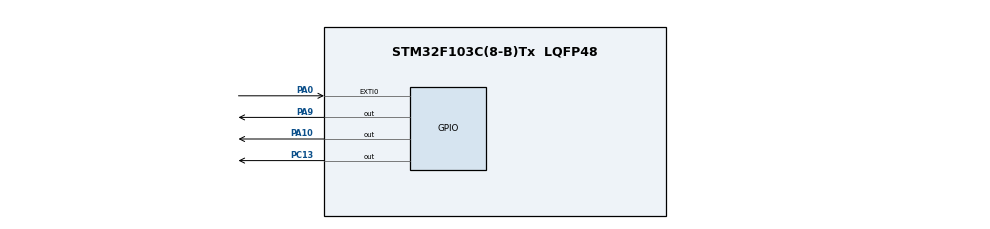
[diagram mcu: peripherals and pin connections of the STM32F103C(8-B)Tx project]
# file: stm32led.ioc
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Mcu.Family=STM32F1
Mcu.Name=STM32F103C(8-B)Tx
Mcu.Package=LQFP48
NVIC.EXTI0_IRQn=true\:0\:0\:false\:false\:true\:true\:true\:true
NVIC.PriorityGroup=NVIC_PRIORITYGROUP_4
PA0-WKUP.GPIO_ModeDefaultEXTI=GPIO_MODE_IT_FALLING
PA0-WKUP.GPIO_PuPd=GPIO_PULLUP
PA0-WKUP.Signal=GPXTI0
PA10.GPIO_PuPd=GPIO_NOPULL
PA10.GPIO_Speed=GPIO_SPEED_FREQ_MEDIUM
PA10.PinState=GPIO_PIN_SET
PA10.Signal=GPIO_Output
PA13.Mode=Serial_Wire
PA13.Signal=SYS_JTMS-SWDIO
PA14.Mode=Serial_Wire
PA14.Signal=SYS_JTCK-SWCLK
PA9.GPIO_PuPd=GPIO_NOPULL
PA9.GPIO_Speed=GPIO_SPEED_FREQ_MEDIUM
PA9.PinState=GPIO_PIN_SET
PA9.Signal=GPIO_Output
PC13-TAMPER-RTC.GPIO_ModeDefaultOutputPP=GPIO_MODE_OUTPUT_OD
PC13-TAMPER-RTC.GPIO_PuPd=GPIO_NOPULL
PC13-TAMPER-RTC.PinState=GPIO_PIN_SET
PC13-TAMPER-RTC.Signal=GPIO_Output
ProjectManager.HeapSize=0x200
ProjectManager.StackSize=0x400
ProjectManager.TargetToolchain=MDK-ARM V5.32
RCC.APB1Freq_Value=8000000
RCC.APB2Freq_Value=8000000
board=custom

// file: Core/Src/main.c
/* USER CODE BEGIN Header */
/**
  ******************************************************************************
  * @file           : main.c
  * @brief          : Main program body
  ******************************************************************************
  * @attention
  *
  * Copyright (c) 2026 STMicroelectronics.
  * All rights reserved.
  *
  * This software is licensed under terms that can be found in the LICENSE file
  * in the root directory of this software component.
  * If no LICENSE file comes with this software, it is provided AS-IS.
  *
  ******************************************************************************
  */
/* USER CODE END Header */
#include "main.h"

/* USER CODE BEGIN PV */
static uint8_t led_mode = 0;
static uint32_t last_debounce_tick = 0; // 消抖时间戳
/* USER CODE END PV */

void SystemClock_Config(void);
static void MX_GPIO_Init(void);

/* USER CODE BEGIN 0 */

void HAL_GPIO_EXTI_Callback(uint16_t GPIO_Pin)
{
    if (GPIO_Pin == GPIO_PIN_0)
    {
        // 消抖：至少间隔 50ms 才处理
        if ((HAL_GetTick() - last_debounce_tick) > 50)
        {
            // 读取当前电平（必须是低电平才有效）
            if (HAL_GPIO_ReadPin(GPIOA, GPIO_PIN_0) == GPIO_PIN_RESET)
            {
                led_mode = !led_mode;

                if (led_mode)
                {
                    HAL_GPIO_WritePin(GPIOA, GPIO_PIN_9, GPIO_PIN_RESET);
                    HAL_GPIO_WritePin(GPIOA, GPIO_PIN_10, GPIO_PIN_SET);
                }
                else
                {
                    HAL_GPIO_WritePin(GPIOA, GPIO_PIN_9, GPIO_PIN_SET);
                    HAL_GPIO_WritePin(GPIOA, GPIO_PIN_10, GPIO_PIN_RESET);
                }

                HAL_GPIO_TogglePin(GPIOC, GPIO_PIN_13);
                last_debounce_tick = HAL_GetTick(); // 更新时间戳
            }
        }
    }
}
/* USER CODE END 0 */

int main(void)
{

  /* MCU Configuration--------------------------------------------------------*/

  /* Reset of all peripherals, Initializes the Flash interface and the Systick. */
  HAL_Init();

  /* Configure the system clock */
  SystemClock_Config();

  /* Initialize all configured peripherals */
  MX_GPIO_Init();
  /* USER CODE BEGIN 2 */
// 初始状态：PA9 亮，PA10 灭（高电平驱动）
HAL_GPIO_WritePin(GPIOA, GPIO_PIN_9, GPIO_PIN_SET);   // 亮
HAL_GPIO_WritePin(GPIOA, GPIO_PIN_10, GPIO_PIN_RESET); // 灭
/* USER CODE END 2 */

  /* Infinite loop */
  while (1)
  {

  }
}

void SystemClock_Config(void)
{
  RCC_OscInitTypeDef RCC_OscInitStruct = {0};
  RCC_ClkInitTypeDef RCC_ClkInitStruct = {0};

  /** Initializes the RCC Oscillators according to the specified parameters
  * in the RCC_OscInitTypeDef structure.
  */
  RCC_OscInitStruct.OscillatorType = RCC_OSCILLATORTYPE_HSI;
  RCC_OscInitStruct.HSIState = RCC_HSI_ON;
  RCC_OscInitStruct.HSICalibrationValue = RCC_HSICALIBRATION_DEFAULT;
  RCC_OscInitStruct.PLL.PLLState = RCC_PLL_NONE;
  if (HAL_RCC_OscConfig(&RCC_OscInitStruct) != HAL_OK)
  {
    Error_Handler();
  }

  /** Initializes the CPU, AHB and APB buses clocks
  */
  RCC_ClkInitStruct.ClockType = RCC_CLOCKTYPE_HCLK|RCC_CLOCKTYPE_SYSCLK
                              |RCC_CLOCKTYPE_PCLK1|RCC_CLOCKTYPE_PCLK2;
  RCC_ClkInitStruct.SYSCLKSource = RCC_SYSCLKSOURCE_HSI;
  RCC_ClkInitStruct.AHBCLKDivider = RCC_SYSCLK_DIV1;
  RCC_ClkInitStruct.APB1CLKDivider = RCC_HCLK_DIV1;
  RCC_ClkInitStruct.APB2CLKDivider = RCC_HCLK_DIV1;

  if (HAL_RCC_ClockConfig(&RCC_ClkInitStruct, FLASH_LATENCY_0) != HAL_OK)
  {
    Error_Handler();
  }
}

static void MX_GPIO_Init(void)
{
  GPIO_InitTypeDef GPIO_InitStruct = {0};

  /* GPIO Ports Clock Enable */
  __HAL_RCC_GPIOC_CLK_ENABLE();
  __HAL_RCC_GPIOA_CLK_ENABLE();

  /*Configure GPIO pin Output Level */
  HAL_GPIO_WritePin(GPIOC, GPIO_PIN_13, GPIO_PIN_SET);

  /*Configure GPIO pin Output Level */
  HAL_GPIO_WritePin(GPIOA, GPIO_PIN_9|GPIO_PIN_10, GPIO_PIN_SET);

  /*Configure GPIO pin : PC13 */
  GPIO_InitStruct.Pin = GPIO_PIN_13;
  GPIO_InitStruct.Mode = GPIO_MODE_OUTPUT_OD;
  GPIO_InitStruct.Pull = GPIO_NOPULL;
  GPIO_InitStruct.Speed = GPIO_SPEED_FREQ_LOW;
  HAL_GPIO_Init(GPIOC, &GPIO_InitStruct);

  /*Configure GPIO pin : PA0 */
  GPIO_InitStruct.Pin = GPIO_PIN_0;
  GPIO_InitStruct.Mode = GPIO_MODE_IT_FALLING;
  GPIO_InitStruct.Pull = GPIO_PULLUP;
  HAL_GPIO_Init(GPIOA, &GPIO_InitStruct);

  /*Configure GPIO pins : PA9 PA10 */
  GPIO_InitStruct.Pin = GPIO_PIN_9|GPIO_PIN_10;
  GPIO_InitStruct.Mode = GPIO_MODE_OUTPUT_PP;
  GPIO_InitStruct.Pull = GPIO_NOPULL;
  GPIO_InitStruct.Speed = GPIO_SPEED_FREQ_MEDIUM;
  HAL_GPIO_Init(GPIOA, &GPIO_InitStruct);

  /* EXTI interrupt init*/
  HAL_NVIC_SetPriority(EXTI0_IRQn, 0, 0);
  HAL_NVIC_EnableIRQ(EXTI0_IRQn);

}

void Error_Handler(void)
{
  __disable_irq();
  while (1)
  {
  }
}
